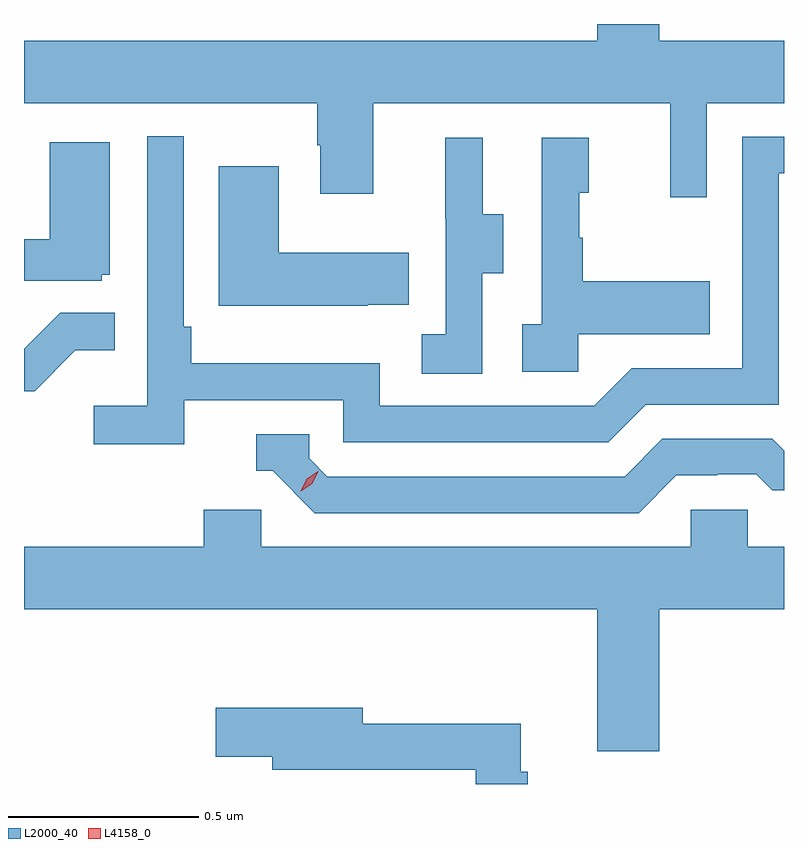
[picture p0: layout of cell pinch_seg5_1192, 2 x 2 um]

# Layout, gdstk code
import gdstk
lib = gdstk.Library(unit=1e-6, precision=1e-09)
def P(c, l, *ps):  # polygons
    for p in ps: c.add(gdstk.Polygon(p, *l))
L2000_40 = (2000, 40)
L4158_0 = (4158, 0)

pinch_seg5_1192 = lib.new_cell('pinch_seg5_1192')
P(pinch_seg5_1192, L2000_40, [(848.613,848.768),(848.816,848.768),(848.816,848.932),(848.488,848.932),(848.488,848.976),(848.324,848.976),(848.324,848.932),(846.816,848.932),(846.816,848.768),(847.588,848.768),(847.588,848.657),(847.595,848.657),(847.595,848.529),(847.735,848.529),(847.735,848.768),(848.516,848.768),(848.516,848.52),(848.613,848.52)],
  [(847.238,847.986),(847.656,847.986),(847.656,847.875),(848.353,847.875),(848.452,847.974),(848.802,847.974),(848.802,848.583),(848.816,848.583),(848.816,848.679),(848.706,848.679),(848.706,848.07),(848.415,848.07),(848.316,847.971),(847.752,847.971),(847.752,848.083),(847.256,848.083),(847.256,848.179),(847.236,848.179),(847.236,848.68),(847.14,848.68),(847.14,847.972),(846.999,847.972),(846.999,847.87),(847.238,847.87)],
  [(848.274,848.159),(848.621,848.159),(848.621,848.299),(848.287,848.299),(848.287,848.414),(848.277,848.414),(848.277,848.532),(848.302,848.532),(848.302,848.677),(848.178,848.677),(848.178,848.186),(848.127,848.186),(848.127,848.061),(848.274,848.061)],
  [(848.022,848.32),(848.077,848.32),(848.077,848.475),(848.023,848.475),(848.023,848.677),(847.925,848.677),(847.925,848.463),(847.926,848.463),(847.926,848.159),(847.863,848.159),(847.863,848.056),(848.022,848.056)],
  [(847.02,848.316),(847.042,848.316),(847.042,848.665),(846.884,848.665),(846.884,848.41),(846.816,848.41),(846.816,848.301),(847.02,848.301)],
  [(847.721,848.237),(847.829,848.237),(847.829,848.374),(847.486,848.374),(847.486,848.602),(847.328,848.602),(847.328,848.234),(847.721,848.234)],
  [(846.951,848.117),(847.055,848.117),(847.055,848.216),(846.911,848.216),(846.816,848.121),(846.816,848.01),(846.844,848.01)],
  [(848.533,847.788),(848.64,847.788),(848.64,847.791),(848.743,847.791),(848.785,847.749),(848.816,847.749),(848.816,847.853),(848.785,847.884),(848.496,847.884),(848.397,847.785),(847.614,847.785),(847.566,847.833),(847.566,847.896),(847.427,847.896),(847.427,847.8),(847.47,847.8),(847.581,847.689),(848.434,847.689)],
  [(847.44,847.698),(847.289,847.698),(847.289,847.6),(846.816,847.6),(846.816,847.436),(848.324,847.436),(848.324,847.062),(848.488,847.062),(848.488,847.436),(848.816,847.436),(848.816,847.6),(848.721,847.6),(848.721,847.698),(848.571,847.698),(848.571,847.6),(847.44,847.6)],
  [(848.141,847.008),(848.123,847.008),(848.123,847.135),(847.708,847.135),(847.708,847.177),(847.32,847.177),(847.32,847.048),(847.469,847.048),(847.469,847.014),(848.005,847.014),(848.005,846.976),(848.141,846.976)])
P(pinch_seg5_1192, L4158_0, [(847.544,847.746),(847.544,847.746),(847.56,847.779),(847.59,847.799),(847.59,847.799),(847.59,847.799),(847.575,847.766),(847.544,847.746)])

lib.write_gds('pinch_seg5_1192.gds')
